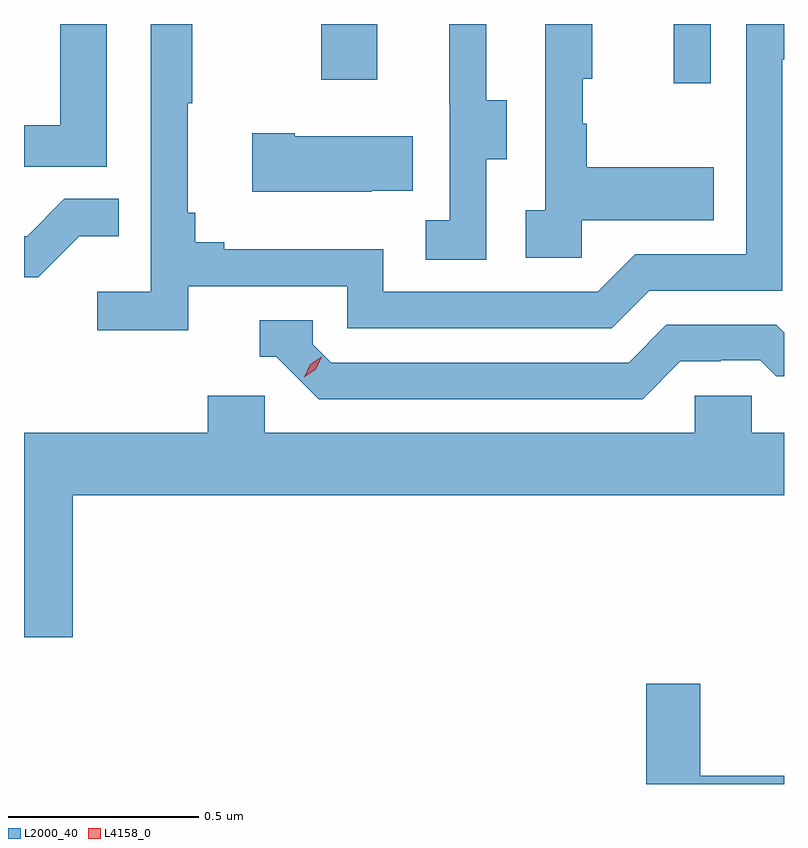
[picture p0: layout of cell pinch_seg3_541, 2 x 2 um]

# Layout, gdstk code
import gdstk
lib = gdstk.Library(unit=1e-6, precision=1e-09)
def R(c, l, rs):  # rectangles x0, y0, x1, y1
    for r in rs: c.add(gdstk.rectangle(r[:2], r[2:], *l))
def P(c, l, *ps):  # polygons
    for p in ps: c.add(gdstk.Polygon(p, *l))
L2000_40 = (2000, 40)
L4158_0 = (4158, 0)

pinch_seg3_541 = lib.new_cell('pinch_seg3_541')
R(pinch_seg3_541, L2000_40, [(1089.83,691.344,1089.927,691.5), (1088.902,691.353,1089.049,691.5)])
P(pinch_seg3_541, L2000_40, [(1088.552,690.81),(1088.97,690.81),(1088.97,690.699),(1089.667,690.699),(1089.766,690.798),(1090.116,690.798),(1090.116,691.407),(1090.12,691.407),(1090.12,691.5),(1090.02,691.5),(1090.02,690.894),(1089.729,690.894),(1089.63,690.795),(1089.066,690.795),(1089.066,690.907),(1088.647,690.907),(1088.647,690.926),(1088.57,690.926),(1088.57,691.003),(1088.551,691.003),(1088.551,691.291),(1088.563,691.291),(1088.563,691.5),(1088.454,691.5),(1088.454,690.796),(1088.313,690.796),(1088.313,690.694),(1088.552,690.694)],
  [(1089.336,691.144),(1089.391,691.144),(1089.391,691.299),(1089.337,691.299),(1089.337,691.5),(1089.239,691.5),(1089.239,691.287),(1089.24,691.287),(1089.24,690.983),(1089.177,690.983),(1089.177,690.88),(1089.336,690.88)],
  [(1089.588,690.983),(1089.935,690.983),(1089.935,691.123),(1089.601,691.123),(1089.601,691.238),(1089.591,691.238),(1089.591,691.356),(1089.616,691.356),(1089.616,691.5),(1089.492,691.5),(1089.492,691.01),(1089.441,691.01),(1089.441,690.885),(1089.588,690.885)],
  [(1088.338,691.5),(1088.216,691.5),(1088.216,691.234),(1088.12,691.234),(1088.12,691.125),(1088.338,691.125)],
  [(1089.035,691.061),(1089.143,691.061),(1089.143,691.204),(1088.833,691.204),(1088.833,691.212),(1088.721,691.212),(1088.721,691.058),(1089.035,691.058)],
  [(1088.265,690.941),(1088.369,690.941),(1088.369,691.04),(1088.226,691.04),(1088.128,690.942),(1088.12,690.942),(1088.12,690.834),(1088.158,690.834)],
  [(1089.847,690.612),(1089.954,690.612),(1089.954,690.615),(1090.057,690.615),(1090.099,690.573),(1090.12,690.573),(1090.12,690.687),(1090.099,690.708),(1089.81,690.708),(1089.711,690.609),(1088.928,690.609),(1088.88,690.657),(1088.88,690.72),(1088.741,690.72),(1088.741,690.624),(1088.784,690.624),(1088.895,690.513),(1089.748,690.513)],
  [(1088.248,690.26),(1090.12,690.26),(1090.12,690.424),(1090.035,690.424),(1090.035,690.522),(1089.885,690.522),(1089.885,690.424),(1088.754,690.424),(1088.754,690.522),(1088.603,690.522),(1088.603,690.424),(1088.12,690.424),(1088.12,689.886),(1088.248,689.886)],
  [(1090.12,689.522),(1089.9,689.522),(1089.9,689.764),(1089.758,689.764),(1089.758,689.5),(1090.12,689.5)])
P(pinch_seg3_541, L4158_0, [(1088.857,690.571),(1088.857,690.571),(1088.873,690.604),(1088.903,690.624),(1088.904,690.624),(1088.904,690.623),(1088.888,690.591),(1088.857,690.571)])

lib.write_gds('pinch_seg3_541.gds')
